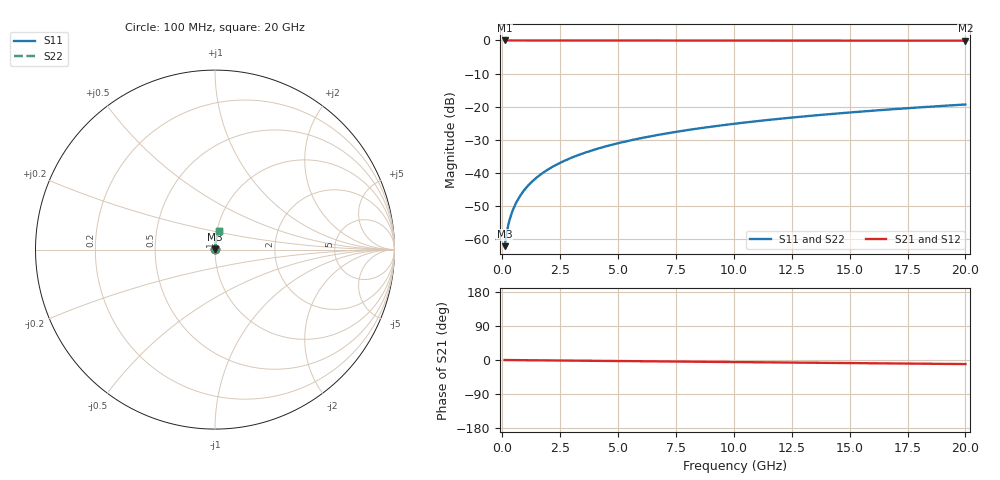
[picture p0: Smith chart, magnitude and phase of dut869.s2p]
! Touchstone file exported from HFSS 2026.1.0
!  File:  C:/ffzhzh/LocalFiles/Ansys_Project_Files/temp_train_BSMRDL_869_1783170870_51560.aedt
!  Generated:  09:15:37 PM Jul  4, 2026
!  Design:  BSMRDL
!  Project:  temp_train_BSMRDL_869_1783170870_51560
! Variables:
!  h_bsmrdl = 4.76um
!  h_ox = 20um
!  h_rdl = 5um
!  h_sub = 80um
!  h_tmrdl = 5um
!  h_tsv = 80um
!  h_via = 3um
!  l_bsmrdl = 113.53um
!  l_sub = 513.53um
!  l_tmrdl = 200um
!  m_sub = 200um
!  pitch = 59.38um
!  r_tsv = 6um
!  s_tmrdl = 10um
!  w_bsmrdl = 29.66um
!  w_sub = 500um
!  w_tmrdl = 12um
!  x_tsv_center1 = 206um
!  x_tsv_center2 = 349.19um
!  x_tsv_center3 = 561.19um
!  x_tsv_center4 = 704.38um
!  x_tsv_center5 = 916.38um
!  x_tsv_center6 = 1059.57um
# GHz S MA R 50.000000
! Terminal data exported
! Port[1] = BSM_RDL1_1_T1
! Port[2] = BSM_RDL1_1_T2
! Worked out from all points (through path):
!   200 points, 100 MHz to 20 GHz, reference 50 ohm
!   highest |S21| = 0.00 dB at 100 MHz (marker M1); lowest = -0.1 dB at 20 GHz (marker M2)
!   group delay of S21, straight-line fit = 1.49 ps
!   lowest |S11| = -62.2 dB at 100 MHz (marker M3), VSWR 1.00, Z = 50 + j0.0615 ohm
!   |S11| at or under -10 dB: start of sweep to end of sweep
!   |S22| runs from -62.2 to -19.4 dB; largest |S21 - S12| = 2.1e-15
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0.1  0.0007751 52.4  0.9995 -0.1  0.9995 -0.1  0.0007751 52.4
! Gamma 0 0 0 0
! Port Impedance 50 0 50 0
0.2  0.001309 67.1  0.9995 -0.1  0.9995 -0.1  0.001309 67.1
0.3  0.00186 73.0  0.9995 -0.2  0.9995 -0.2  0.00186 73.0
0.4  0.00241 76.3  0.9994 -0.2  0.9994 -0.2  0.00241 76.3
0.5  0.002962 78.4  0.9994 -0.3  0.9994 -0.3  0.002962 78.4
0.7  0.00407 81.0  0.9994 -0.4  0.9994 -0.4  0.00407 81.0
0.8  0.004626 81.9  0.9994 -0.4  0.9994 -0.4  0.004626 81.9
1  0.005743 83.1  0.9993 -0.6  0.9993 -0.6  0.005743 83.1
1.2  0.006862 83.8  0.9993 -0.7  0.9993 -0.7  0.006862 83.8
1.4  0.007983 84.4  0.9993 -0.8  0.9993 -0.8  0.007983 84.4
1.7  0.009665 84.9  0.9992 -0.9  0.9992 -0.9  0.009665 84.9
2  0.01134 85.1  0.9992 -1.1  0.9992 -1.1  0.01134 85.1
2.7  0.01525 85.3  0.999 -1.5  0.999 -1.5  0.01525 85.3
3.5  0.01969 85.3  0.9988 -1.9  0.9988 -1.9  0.01969 85.3
4.2  0.02354 85.1  0.9986 -2.3  0.9986 -2.3  0.02354 85.1
5  0.02792 84.8  0.9984 -2.7  0.9984 -2.7  0.02792 84.8
6.8  0.03769 84.1  0.9978 -3.7  0.9978 -3.7  0.03769 84.1
8.3  0.04576 83.4  0.9973 -4.5  0.9973 -4.5  0.04576 83.4
10.1  0.05541 82.6  0.9966 -5.5  0.9966 -5.5  0.05541 82.6
13.4  0.07297 81.1  0.9952 -7.2  0.9952 -7.2  0.07297 81.1
16.7  0.09037 79.5  0.9935 -9.0  0.9935 -9.0  0.09037 79.5
20  0.1076 77.9  0.9916 -10.7  0.9916 -10.7  0.1076 77.9
